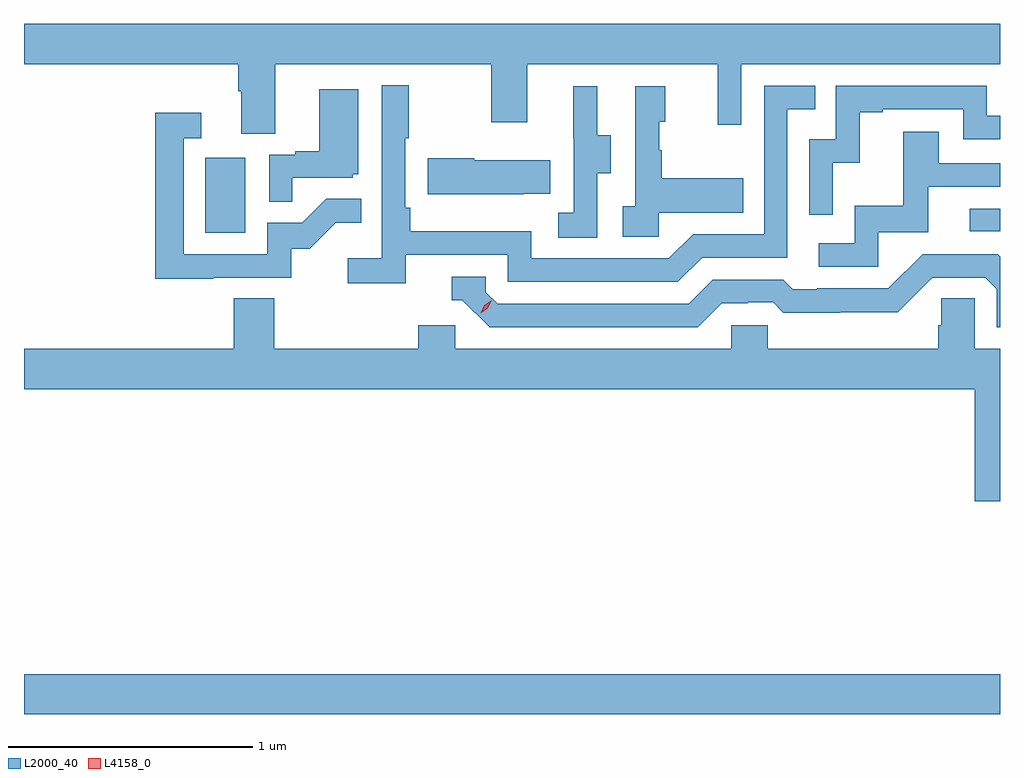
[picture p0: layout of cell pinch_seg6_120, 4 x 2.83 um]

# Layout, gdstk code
import gdstk
lib = gdstk.Library(unit=1e-6, precision=1e-09)
def R(c, l, rs):  # rectangles x0, y0, x1, y1
    for r in rs: c.add(gdstk.rectangle(r[:2], r[2:], *l))
def P(c, l, *ps):  # polygons
    for p in ps: c.add(gdstk.Polygon(p, *l))
L2000_40 = (2000, 40)
L4158_0 = (4158, 0)

pinch_seg6_120 = lib.new_cell('pinch_seg6_120')
R(pinch_seg6_120, L2000_40, [(963.555,926.024,967.555,926.188), (964.298,927.996,964.462,928.303), (967.431,928.002,967.555,928.095)])
P(pinch_seg6_120, L2000_40, [(964.585,928.688),(965.47,928.688),(965.47,928.449),(965.617,928.449),(965.617,928.688),(966.398,928.688),(966.398,928.44),(966.495,928.44),(966.495,928.688),(967.555,928.688),(967.555,928.852),(963.555,928.852),(963.555,928.688),(964.433,928.688),(964.433,928.576),(964.445,928.576),(964.445,928.402),(964.585,928.402)],
  [(965.12,927.906),(965.538,927.906),(965.538,927.795),(966.235,927.795),(966.334,927.894),(966.684,927.894),(966.684,928.503),(966.797,928.503),(966.797,928.599),(966.588,928.599),(966.588,927.99),(966.297,927.99),(966.198,927.891),(965.634,927.891),(965.634,928.003),(965.138,928.003),(965.138,928.099),(965.118,928.099),(965.118,928.384),(965.131,928.384),(965.131,928.6),(965.022,928.6),(965.022,927.892),(964.881,927.892),(964.881,927.79),(965.12,927.79)],
  [(966.87,928.283),(966.98,928.283),(966.98,928.491),(967.075,928.491),(967.075,928.503),(967.404,928.503),(967.404,928.38),(967.555,928.38),(967.555,928.476),(967.5,928.476),(967.5,928.599),(966.882,928.599),(966.882,928.38),(966.774,928.38),(966.774,928.071),(966.87,928.071)],
  [(965.904,928.24),(965.959,928.24),(965.959,928.395),(965.905,928.395),(965.905,928.597),(965.807,928.597),(965.807,928.383),(965.808,928.383),(965.808,928.079),(965.745,928.079),(965.745,927.976),(965.904,927.976)],
  [(966.156,928.079),(966.503,928.079),(966.503,928.219),(966.169,928.219),(966.169,928.334),(966.159,928.334),(966.159,928.452),(966.184,928.452),(966.184,928.597),(966.06,928.597),(966.06,928.106),(966.009,928.106),(966.009,927.981),(966.156,927.981)],
  [(964.655,928.221),(964.902,928.221),(964.902,928.236),(964.924,928.236),(964.924,928.585),(964.766,928.585),(964.766,928.33),(964.667,928.33),(964.667,928.317),(964.56,928.317),(964.56,928.123),(964.655,928.123)],
  [(964.331,927.813),(964.65,927.813),(964.65,927.93),(964.726,927.93),(964.833,928.037),(964.937,928.037),(964.937,928.136),(964.793,928.136),(964.695,928.038),(964.551,928.038),(964.551,927.909),(964.209,927.909),(964.209,928.383),(964.282,928.383),(964.282,928.489),(964.093,928.489),(964.093,927.808),(964.331,927.808)],
  [(967.056,927.999),(967.261,927.999),(967.261,928.185),(967.555,928.185),(967.555,928.281),(967.303,928.281),(967.303,928.411),(967.159,928.411),(967.159,928.108),(966.96,928.108),(966.96,927.954),(966.813,927.954),(966.813,927.858),(967.056,927.858)],
  [(965.603,928.157),(965.711,928.157),(965.711,928.294),(965.401,928.294),(965.401,928.302),(965.21,928.302),(965.21,928.154),(965.603,928.154)],
  [(966.415,927.708),(966.522,927.708),(966.522,927.711),(966.625,927.711),(966.667,927.669),(966.9,927.669),(966.9,927.671),(967.136,927.671),(967.278,927.813),(967.494,927.813),(967.542,927.765),(967.542,927.609),(967.555,927.609),(967.555,927.899),(967.545,927.909),(967.239,927.909),(967.098,927.768),(966.805,927.768),(966.805,927.765),(966.706,927.765),(966.667,927.804),(966.378,927.804),(966.279,927.705),(965.496,927.705),(965.448,927.753),(965.448,927.816),(965.309,927.816),(965.309,927.72),(965.352,927.72),(965.463,927.609),(966.316,927.609)],
  [(967.555,927.52),(967.452,927.52),(967.452,927.728),(967.315,927.728),(967.315,927.618),(967.301,927.618),(967.301,927.52),(966.603,927.52),(966.603,927.618),(966.453,927.618),(966.453,927.52),(965.322,927.52),(965.322,927.618),(965.171,927.618),(965.171,927.52),(964.58,927.52),(964.58,927.728),(964.415,927.728),(964.415,927.52),(963.555,927.52),(963.555,927.356),(967.451,927.356),(967.451,926.895),(967.555,926.895)])
P(pinch_seg6_120, L4158_0, [(965.426,927.666),(965.426,927.667),(965.441,927.699),(965.471,927.719),(965.471,927.719),(965.471,927.719),(965.456,927.686),(965.426,927.666)])

lib.write_gds('pinch_seg6_120.gds')
